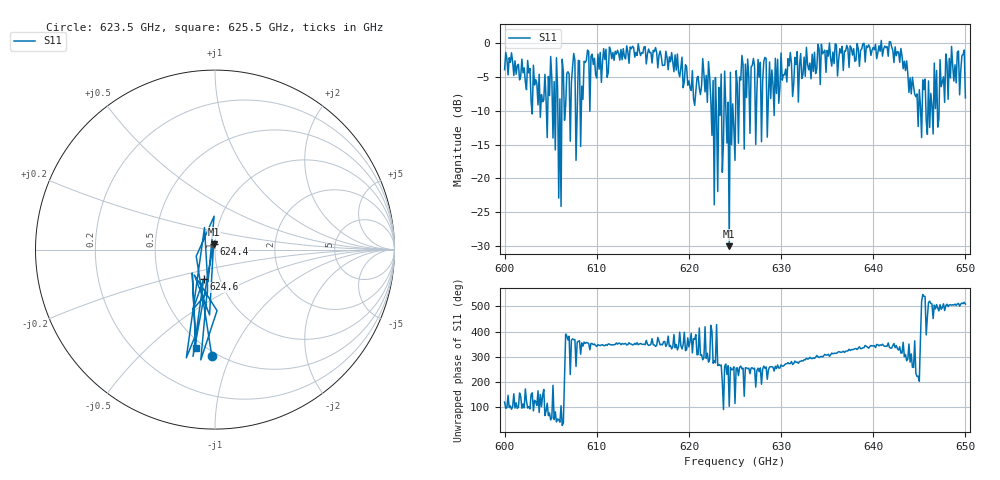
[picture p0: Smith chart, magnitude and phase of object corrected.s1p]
!Created with skrf (http://scikit-rf.org).
# GHz S MA R 50.0
!freq magS11 angS11
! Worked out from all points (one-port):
!   401 points, 600 GHz to 650 GHz, reference 50 ohm
!   lowest |S11| = -30.0 dB at 624.4 GHz (marker M1), VSWR 1.07, Z = 49.1 + j3.01 ohm
!   |S11| at or under -10 dB: 607.688 GHz to 607.8802 GHz (192.1 MHz wide, 0.0316 % of centre); 622.9834 GHz to 623.2222 GHz (238.8 MHz wide, 0.0383 % of centre); 623.5467 GHz to 623.8051 GHz (258.4 MHz wide, 0.0414 % of centre) (the widest 3 of 34)
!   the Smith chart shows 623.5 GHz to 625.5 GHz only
!   S11 on the Smith chart (normalised r, x): 623.5 GHz: 0.47, -0.85; 624.4 GHz: 0.98, +0.06; 624.6 GHz: 0.84, -0.29; 625.5 GHz: 0.45, -0.72
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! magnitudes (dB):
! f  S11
! 600 GHz  -3.9
! 604.4 GHz  -4.6
! 605.1 GHz  -5.2
! 605.9 GHz  -22.9
! 606.2 GHz  -2.4
! 606.5 GHz  -11.4
! 607.4 GHz  -3.5
! 608 GHz  -2.6
! 608.9 GHz  -2.5
! 612.5 GHz  -2.5
! 618.8 GHz  -1.6
! 620.4 GHz  -4.1
! 622.1 GHz  -2.8
! 623 GHz  -10.8
! 623.5 GHz  -4.6
! 624 GHz  -9.4
! 624.4 GHz  -30.0
! 624.6 GHz  -15.0
! 625 GHz  -17.3
! 625.5 GHz  -5.0
! 628.8 GHz  -2.8
! 631.2 GHz  -7.9
! 637.5 GHz  -0.4
! 641.8 GHz  0.2
! 643.8 GHz  -4.5
! 645 GHz  -6.9
! 648.5 GHz  -0.5
! 650 GHz  -8.1
